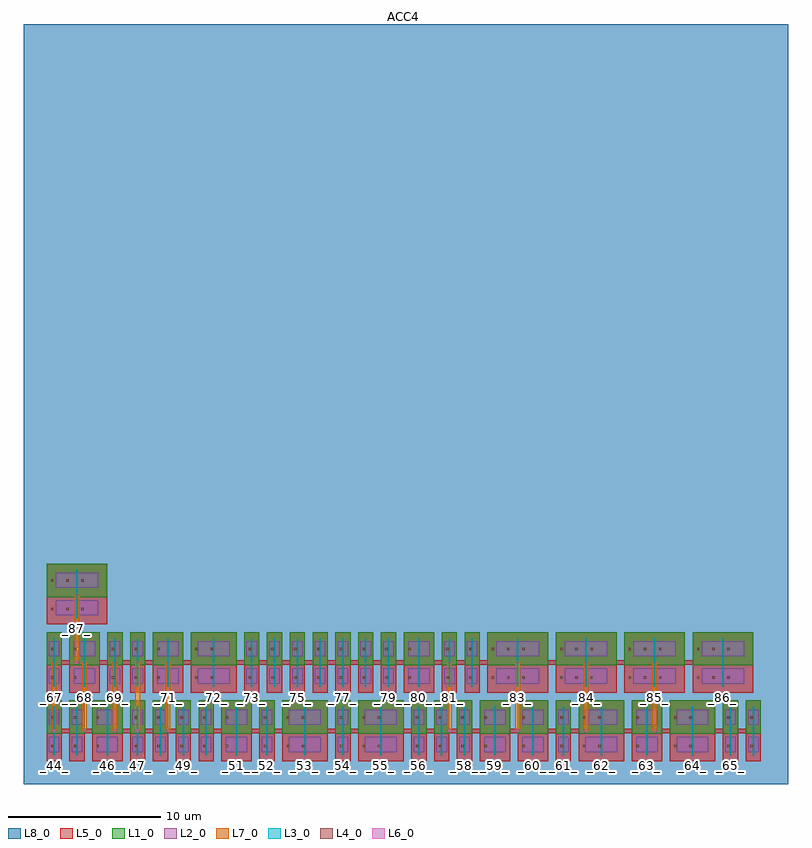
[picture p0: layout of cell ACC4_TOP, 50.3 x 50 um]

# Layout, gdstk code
import gdstk
lib = gdstk.Library(unit=1e-6, precision=1e-09)
def R(c, l, rs):  # rectangles x0, y0, x1, y1
    for r in rs: c.add(gdstk.rectangle(r[:2], r[2:], *l))
def A(c, l, x, y, w, h, nx, ny, dx, dy):  # array of equal rectangles
    R(c, l, [(x+i*dx, y+j*dy, x+i*dx+w, y+j*dy+h) for i in range(nx) for j in range(ny)])
L1_0 = (1, 0)
L2_0 = (2, 0)
L3_0 = (3, 0)
L4_0 = (4, 0)
L5_0 = (5, 0)
L6_0 = (6, 0)
L7_0 = (7, 0)
L8_0 = (8, 0)

sc_inv_10x40 = lib.new_cell('SC_INV_10x40')
R(sc_inv_10x40, L1_0, [(0,1.8,1,4)])
R(sc_inv_10x40, L2_0, [(0.15,0.6,0.85,1.6), (0.15,2.4,0.85,3.4)])
R(sc_inv_10x40, L3_0, [(0.45,0.4,0.55,3.6)])
R(sc_inv_10x40, L4_0, [(0.3,0.92,0.45,1.08), (0.3,2.8,0.45,2.96)])
R(sc_inv_10x40, L5_0, [(0,0,1,0.18), (0,0,1,4), (0.4,1.8,0.6,2.2), (0,3.82,1,4)])
sc_inv_10x40.add(gdstk.Label('INV', (0.5,2), layer=64, texttype=0))

sc_and2_20x40 = lib.new_cell('SC_AND2_20x40')
R(sc_and2_20x40, L1_0, [(0,1.8,2,4)])
R(sc_and2_20x40, L2_0, [(0.3,0.6,1.7,1.6), (0.3,2.4,1.7,3.4)])
R(sc_and2_20x40, L3_0, [(0.95,0.4,1.05,3.6)])
R(sc_and2_20x40, L4_0, [(0.3,0.92,0.45,1.08), (0.3,2.8,0.45,2.96)])
R(sc_and2_20x40, L5_0, [(0,0,2,0.18), (0,0,2,4), (0.8,1.8,1.2,2.2), (0,3.82,2,4)])
sc_and2_20x40.add(gdstk.Label('AND2', (1,2), layer=64, texttype=0))

sc_nand2_10x40 = lib.new_cell('SC_NAND2_10x40')
R(sc_nand2_10x40, L1_0, [(0,1.8,1,4)])
R(sc_nand2_10x40, L2_0, [(0.15,0.6,0.85,1.6), (0.15,2.4,0.85,3.4)])
R(sc_nand2_10x40, L3_0, [(0.45,0.4,0.55,3.6)])
R(sc_nand2_10x40, L4_0, [(0.3,0.92,0.45,1.08), (0.3,2.8,0.45,2.96)])
R(sc_nand2_10x40, L5_0, [(0,0,1,0.18), (0,0,1,4), (0.4,1.8,0.6,2.2), (0,3.82,1,4)])
sc_nand2_10x40.add(gdstk.Label('NAND2', (0.5,2), layer=64, texttype=0))

sc_nor2_10x40 = lib.new_cell('SC_NOR2_10x40')
R(sc_nor2_10x40, L1_0, [(0,1.8,1,4)])
R(sc_nor2_10x40, L2_0, [(0.15,0.6,0.85,1.6), (0.15,2.4,0.85,3.4)])
R(sc_nor2_10x40, L3_0, [(0.45,0.4,0.55,3.6)])
R(sc_nor2_10x40, L4_0, [(0.3,0.92,0.45,1.08), (0.3,2.8,0.45,2.96)])
R(sc_nor2_10x40, L5_0, [(0,0,1,0.18), (0,0,1,4), (0.4,1.8,0.6,2.2), (0,3.82,1,4)])
sc_nor2_10x40.add(gdstk.Label('NOR2', (0.5,2), layer=64, texttype=0))

sc_xor2_30x40 = lib.new_cell('SC_XOR2_30x40')
R(sc_xor2_30x40, L1_0, [(0,1.8,3,4)])
R(sc_xor2_30x40, L2_0, [(0.45,0.6,2.55,1.6), (0.45,2.4,2.55,3.4)])
R(sc_xor2_30x40, L3_0, [(1.45,0.4,1.55,3.6)])
R(sc_xor2_30x40, L4_0, [(0.3,0.92,0.45,1.08), (1.3,0.92,1.45,1.08), (0.3,2.8,0.45,2.96), (1.3,2.8,1.45,2.96)])
R(sc_xor2_30x40, L5_0, [(0,0,3,0.18), (0,0,3,4), (1.2,1.8,1.8,2.2), (0,3.82,3,4)])
sc_xor2_30x40.add(gdstk.Label('XOR2', (1.5,2), layer=64, texttype=0))

sc_xnor2_30x40 = lib.new_cell('SC_XNOR2_30x40')
R(sc_xnor2_30x40, L1_0, [(0,1.8,3,4)])
R(sc_xnor2_30x40, L2_0, [(0.45,0.6,2.55,1.6), (0.45,2.4,2.55,3.4)])
R(sc_xnor2_30x40, L3_0, [(1.45,0.4,1.55,3.6)])
R(sc_xnor2_30x40, L4_0, [(0.3,0.92,0.45,1.08), (1.3,0.92,1.45,1.08), (0.3,2.8,0.45,2.96), (1.3,2.8,1.45,2.96)])
R(sc_xnor2_30x40, L5_0, [(0,0,3,0.18), (0,0,3,4), (1.2,1.8,1.8,2.2), (0,3.82,3,4)])
sc_xnor2_30x40.add(gdstk.Label('XNOR2', (1.5,2), layer=64, texttype=0))

sc_or2_20x40 = lib.new_cell('SC_OR2_20x40')
R(sc_or2_20x40, L1_0, [(0,1.8,2,4)])
R(sc_or2_20x40, L2_0, [(0.3,0.6,1.7,1.6), (0.3,2.4,1.7,3.4)])
R(sc_or2_20x40, L3_0, [(0.95,0.4,1.05,3.6)])
R(sc_or2_20x40, L4_0, [(0.3,0.92,0.45,1.08), (0.3,2.8,0.45,2.96)])
R(sc_or2_20x40, L5_0, [(0,0,2,0.18), (0,0,2,4), (0.8,1.8,1.2,2.2), (0,3.82,2,4)])
sc_or2_20x40.add(gdstk.Label('OR2', (1,2), layer=64, texttype=0))

sc_dff_40x40 = lib.new_cell('SC_DFF_40x40')
R(sc_dff_40x40, L1_0, [(0,1.8,4,4)])
R(sc_dff_40x40, L2_0, [(0.6,0.6,3.4,1.6), (0.6,2.4,3.4,3.4)])
R(sc_dff_40x40, L3_0, [(1.95,0.4,2.05,3.6)])
A(sc_dff_40x40, L4_0, 0.3, 0.92, 0.15, 0.16, 3, 2, 1, 1.88)
R(sc_dff_40x40, L5_0, [(0,0,4,0.18), (0,0,4,4), (1.6,1.8,2.4,2.2), (0,3.82,4,4)])
sc_dff_40x40.add(gdstk.Label('DFF', (2,2), layer=64, texttype=0))

acc4_top = lib.new_cell('ACC4_TOP')
A(acc4_top, L5_0, 16, 3.35, 2.5, 0.3, 3, 1, 2.5, 0)
A(acc4_top, L5_0, 15, 7.85, 1.5, 0.3, 5, 1, 1.5, 0)
A(acc4_top, L5_0, 32.5, 7.85, 4.5, 0.3, 3, 1, 4.5, 0)
R(acc4_top, L5_0, [(2,3.35,9.5,3.65), (2,3.35,6,3.65), (2,3.35,29,3.65), (2,3.35,48,3.65), (3.5,3.35,10.5,3.65), (3.5,3.35,29,3.65), (4,3.35,46.5,3.65), (5.5,3.35,26,3.65), (5.5,3.35,14,3.65), (5.5,3.35,7.5,3.65), (6,3.35,48,3.65), (7.5,3.35,10.5,3.65), (7.5,3.35,41,3.65), (7.5,3.35,9,3.65), (7.5,3.35,9,3.65), (7.5,3.35,35.5,3.65), (9,3.35,12,3.65), (9,3.35,14,3.65), (10.5,3.35,28,3.65), (10.5,3.35,12,3.65), (12,3.35,32.5,3.65), (14,3.35,21,3.65), (14,3.35,32.5,3.65), (16,3.35,33.5,3.65), (16,3.35,18.5,3.65), (18.5,3.35,27.5,3.65), (21,3.35,23.5,3.65), (21,3.35,33.5,3.65), (23.5,3.35,26,3.65), (26,3.35,27.5,3.65), (26,3.35,31,3.65), (27.5,3.35,29,3.65), (27.5,3.35,46.5,3.65), (27.5,3.35,37,3.65), (29,3.35,31,3.65), (31,3.35,37,3.65), (33.5,3.35,41,3.65), (35.5,3.35,38,3.65), (35.5,3.35,38,3.65), (38,3.35,41,3.65), (38,3.35,48,3.65), (41,3.35,44,3.65), (41,3.35,44,3.65), (41.5,3.35,48,3.65), (44,3.35,46.5,3.65), (46.5,3.35,48,3.65), (2,7.85,22.5,8.15), (2,7.85,4,8.15), (3.5,7.85,46,8.15), (3.5,7.85,26,8.15), (3.5,7.85,29.5,8.15), (4,7.85,41.5,8.15), (6,7.85,18,8.15), (6,7.85,21,8.15), (7.5,7.85,15,8.15), (9.5,7.85,12.5,8.15), (9.5,7.85,12.5,8.15), (9.5,7.85,24,8.15), (12.5,7.85,46,8.15), (12.5,7.85,15,8.15), (15,7.85,16.5,8.15), (15,7.85,19.5,8.15), (18,7.85,26,8.15), (19.5,7.85,24,8.15), (22.5,7.85,46,8.15), (24,7.85,29.5,8.15), (26,7.85,28,8.15), (28,7.85,29.5,8.15)])
A(acc4_top, L6_0, 1.9, 3.4, 0.2, 0.2, 3, 1, 2, 0)
R(acc4_top, L6_0, [(1.9,3.4,2.1,3.6), (5.9,3.4,6.1,3.6), (7.4,3.4,7.6,3.6), (7.4,3.4,7.6,3.6), (9.4,3.4,9.6,3.6), (27.9,3.4,28.1,3.6), (32.4,3.4,32.6,3.6), (32.4,3.4,32.6,3.6), (36.9,3.4,37.1,3.6), (36.9,3.4,37.1,3.6), (41.4,3.4,41.6,3.6), (3.4,7.9,3.6,8.1), (3.4,7.9,3.6,8.1), (3.4,7.9,3.6,8.1)])
A(acc4_top, L7_0, 1.85, 3.5, 0.3, 4.5, 3, 1, 2, 0)
R(acc4_top, L7_0, [(1.85,3.5,2.15,8), (5.85,3.5,6.15,8), (7.35,3.5,7.65,8), (7.35,3.5,7.65,8), (9.35,3.5,9.65,8), (27.85,3.5,28.15,8), (32.35,3.5,32.65,8), (32.35,3.5,32.65,8), (36.85,3.5,37.15,8), (36.85,3.5,37.15,8), (41.35,3.5,41.65,8), (3.35,8,3.65,12.5), (3.35,8,3.65,12.5), (3.35,8,3.65,12.5)])
A(acc4_top, L8_0, 4.7, 0, 0.6, 50, 10, 1, 5, 0)
R(acc4_top, L8_0, [(0,0,50,50)])
acc4_top.add(gdstk.Reference(sc_inv_10x40, (1.5,1.5)))
acc4_top.add(gdstk.Reference(sc_inv_10x40, (3,1.5)))
acc4_top.add(gdstk.Reference(sc_and2_20x40, (4.5,1.5)))
acc4_top.add(gdstk.Reference(sc_nand2_10x40, (7,1.5)))
acc4_top.add(gdstk.Reference(sc_nor2_10x40, (8.5,1.5)))
acc4_top.add(gdstk.Reference(sc_nand2_10x40, (10,1.5)))
acc4_top.add(gdstk.Reference(sc_nor2_10x40, (11.5,1.5)))
acc4_top.add(gdstk.Reference(sc_and2_20x40, (13,1.5)))
acc4_top.add(gdstk.Reference(sc_nand2_10x40, (15.5,1.5)))
acc4_top.add(gdstk.Reference(sc_xor2_30x40, (17,1.5)))
acc4_top.add(gdstk.Reference(sc_nand2_10x40, (20.5,1.5)))
acc4_top.add(gdstk.Reference(sc_xnor2_30x40, (22,1.5)))
acc4_top.add(gdstk.Reference(sc_nand2_10x40, (25.5,1.5)))
acc4_top.add(gdstk.Reference(sc_nor2_10x40, (27,1.5)))
acc4_top.add(gdstk.Reference(sc_nor2_10x40, (28.5,1.5)))
acc4_top.add(gdstk.Reference(sc_and2_20x40, (30,1.5)))
acc4_top.add(gdstk.Reference(sc_and2_20x40, (32.5,1.5)))
acc4_top.add(gdstk.Reference(sc_nand2_10x40, (35,1.5)))
acc4_top.add(gdstk.Reference(sc_xnor2_30x40, (36.5,1.5)))
acc4_top.add(gdstk.Reference(sc_or2_20x40, (40,1.5)))
acc4_top.add(gdstk.Reference(sc_xnor2_30x40, (42.5,1.5)))
acc4_top.add(gdstk.Reference(sc_nand2_10x40, (46,1.5)))
acc4_top.add(gdstk.Reference(sc_nor2_10x40, (47.5,1.5)))
acc4_top.add(gdstk.Reference(sc_nor2_10x40, (1.5,6)))
acc4_top.add(gdstk.Reference(sc_and2_20x40, (3,6)))
acc4_top.add(gdstk.Reference(sc_nor2_10x40, (5.5,6)))
acc4_top.add(gdstk.Reference(sc_nand2_10x40, (7,6)))
acc4_top.add(gdstk.Reference(sc_and2_20x40, (8.5,6)))
acc4_top.add(gdstk.Reference(sc_xor2_30x40, (11,6)))
acc4_top.add(gdstk.Reference(sc_nor2_10x40, (14.5,6)))
acc4_top.add(gdstk.Reference(sc_nand2_10x40, (16,6)))
acc4_top.add(gdstk.Reference(sc_nand2_10x40, (17.5,6)))
acc4_top.add(gdstk.Reference(sc_nor2_10x40, (19,6)))
acc4_top.add(gdstk.Reference(sc_nor2_10x40, (20.5,6)))
acc4_top.add(gdstk.Reference(sc_nor2_10x40, (22,6)))
acc4_top.add(gdstk.Reference(sc_nor2_10x40, (23.5,6)))
acc4_top.add(gdstk.Reference(sc_or2_20x40, (25,6)))
acc4_top.add(gdstk.Reference(sc_nand2_10x40, (27.5,6)))
acc4_top.add(gdstk.Reference(sc_nor2_10x40, (29,6)))
acc4_top.add(gdstk.Reference(sc_dff_40x40, (30.5,6)))
acc4_top.add(gdstk.Reference(sc_dff_40x40, (35,6)))
acc4_top.add(gdstk.Reference(sc_dff_40x40, (39.5,6)))
acc4_top.add(gdstk.Reference(sc_dff_40x40, (44,6)))
acc4_top.add(gdstk.Reference(sc_dff_40x40, (1.5,10.5)))
acc4_top.add(gdstk.Label('ACC4', (25,50.5), layer=64, texttype=0))
acc4_top.add(gdstk.Label('_44_', (2,1.2), layer=64, texttype=0))
acc4_top.add(gdstk.Label('_45_', (3.5,1.2), layer=64, texttype=0))
acc4_top.add(gdstk.Label('_46_', (5.5,1.2), layer=64, texttype=0))
acc4_top.add(gdstk.Label('_47_', (7.5,1.2), layer=64, texttype=0))
acc4_top.add(gdstk.Label('_48_', (9,1.2), layer=64, texttype=0))
acc4_top.add(gdstk.Label('_49_', (10.5,1.2), layer=64, texttype=0))
acc4_top.add(gdstk.Label('_50_', (12,1.2), layer=64, texttype=0))
acc4_top.add(gdstk.Label('_51_', (14,1.2), layer=64, texttype=0))
acc4_top.add(gdstk.Label('_52_', (16,1.2), layer=64, texttype=0))
acc4_top.add(gdstk.Label('_53_', (18.5,1.2), layer=64, texttype=0))
acc4_top.add(gdstk.Label('_54_', (21,1.2), layer=64, texttype=0))
acc4_top.add(gdstk.Label('_55_', (23.5,1.2), layer=64, texttype=0))
acc4_top.add(gdstk.Label('_56_', (26,1.2), layer=64, texttype=0))
acc4_top.add(gdstk.Label('_57_', (27.5,1.2), layer=64, texttype=0))
acc4_top.add(gdstk.Label('_58_', (29,1.2), layer=64, texttype=0))
acc4_top.add(gdstk.Label('_59_', (31,1.2), layer=64, texttype=0))
acc4_top.add(gdstk.Label('_60_', (33.5,1.2), layer=64, texttype=0))
acc4_top.add(gdstk.Label('_61_', (35.5,1.2), layer=64, texttype=0))
acc4_top.add(gdstk.Label('_62_', (38,1.2), layer=64, texttype=0))
acc4_top.add(gdstk.Label('_63_', (41,1.2), layer=64, texttype=0))
acc4_top.add(gdstk.Label('_64_', (44,1.2), layer=64, texttype=0))
acc4_top.add(gdstk.Label('_65_', (46.5,1.2), layer=64, texttype=0))
acc4_top.add(gdstk.Label('_66_', (48,1.2), layer=64, texttype=0))
acc4_top.add(gdstk.Label('_67_', (2,5.7), layer=64, texttype=0))
acc4_top.add(gdstk.Label('_68_', (4,5.7), layer=64, texttype=0))
acc4_top.add(gdstk.Label('_69_', (6,5.7), layer=64, texttype=0))
acc4_top.add(gdstk.Label('_70_', (7.5,5.7), layer=64, texttype=0))
acc4_top.add(gdstk.Label('_71_', (9.5,5.7), layer=64, texttype=0))
acc4_top.add(gdstk.Label('_72_', (12.5,5.7), layer=64, texttype=0))
acc4_top.add(gdstk.Label('_73_', (15,5.7), layer=64, texttype=0))
acc4_top.add(gdstk.Label('_74_', (16.5,5.7), layer=64, texttype=0))
acc4_top.add(gdstk.Label('_75_', (18,5.7), layer=64, texttype=0))
acc4_top.add(gdstk.Label('_76_', (19.5,5.7), layer=64, texttype=0))
acc4_top.add(gdstk.Label('_77_', (21,5.7), layer=64, texttype=0))
acc4_top.add(gdstk.Label('_78_', (22.5,5.7), layer=64, texttype=0))
acc4_top.add(gdstk.Label('_79_', (24,5.7), layer=64, texttype=0))
acc4_top.add(gdstk.Label('_80_', (26,5.7), layer=64, texttype=0))
acc4_top.add(gdstk.Label('_81_', (28,5.7), layer=64, texttype=0))
acc4_top.add(gdstk.Label('_82_', (29.5,5.7), layer=64, texttype=0))
acc4_top.add(gdstk.Label('_83_', (32.5,5.7), layer=64, texttype=0))
acc4_top.add(gdstk.Label('_84_', (37,5.7), layer=64, texttype=0))
acc4_top.add(gdstk.Label('_85_', (41.5,5.7), layer=64, texttype=0))
acc4_top.add(gdstk.Label('_86_', (46,5.7), layer=64, texttype=0))
acc4_top.add(gdstk.Label('_87_', (3.5,10.2), layer=64, texttype=0))

lib.write_gds('ACC4_TOP.gds')
